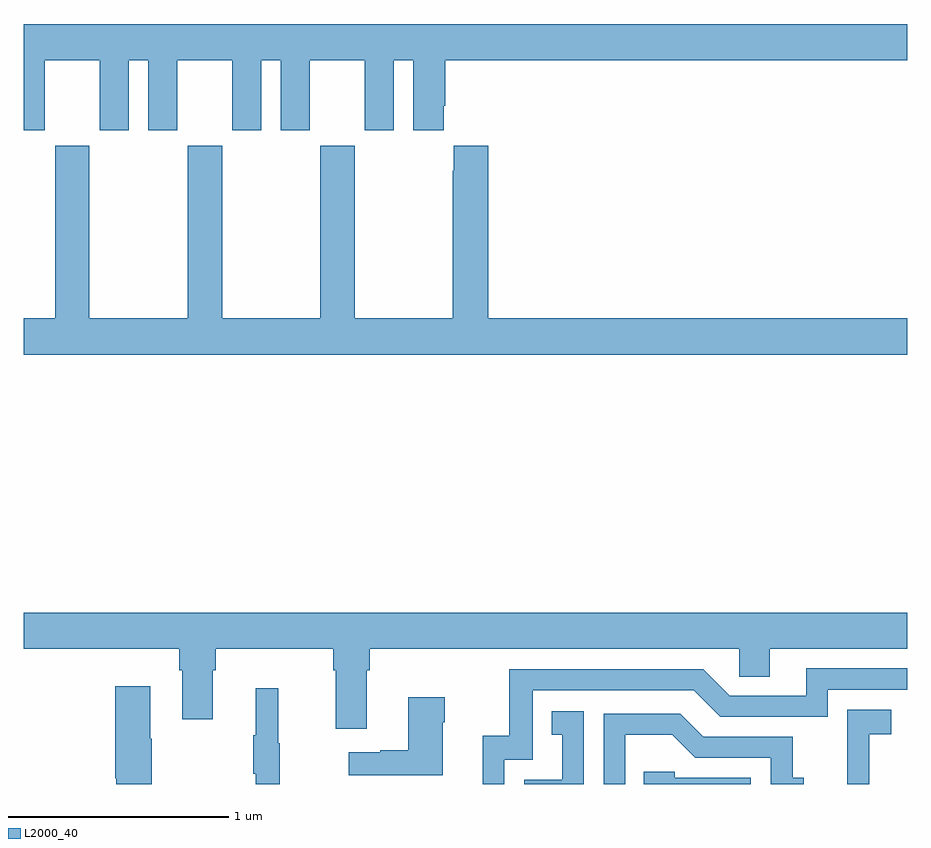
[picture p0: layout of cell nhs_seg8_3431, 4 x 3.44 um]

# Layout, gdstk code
import gdstk
lib = gdstk.Library(unit=1e-6, precision=1e-09)
def P(c, l, *ps):  # polygons
    for p in ps: c.add(gdstk.Polygon(p, *l))
L2000_40 = (2000, 40)

nhs_seg8_3431 = lib.new_cell('nhs_seg8_3431')
P(nhs_seg8_3431, L2000_40, [(323.095,1107.176),(323.345,1107.176),(323.345,1106.859),(323.476,1106.859),(323.476,1107.176),(323.564,1107.176),(323.564,1106.859),(323.695,1106.859),(323.695,1107.176),(323.945,1107.176),(323.945,1106.859),(324.076,1106.859),(324.076,1107.176),(324.164,1107.176),(324.164,1106.859),(324.295,1106.859),(324.295,1107.176),(324.545,1107.176),(324.545,1106.859),(324.676,1106.859),(324.676,1107.176),(324.764,1107.176),(324.764,1106.859),(324.901,1106.859),(324.901,1106.971),(324.908,1106.971),(324.908,1107.176),(327,1107.176),(327,1107.34),(323,1107.34),(323,1106.859),(323.095,1106.859)],
  [(327,1106.008),(325.103,1106.008),(325.103,1106.788),(324.947,1106.788),(324.947,1106.675),(324.943,1106.675),(324.943,1106.008),(324.498,1106.008),(324.498,1106.788),(324.343,1106.788),(324.343,1106.008),(323.898,1106.008),(323.898,1106.788),(323.743,1106.788),(323.743,1106.008),(323.298,1106.008),(323.298,1106.788),(323.143,1106.788),(323.143,1106.008),(323,1106.008),(323,1105.844),(327,1105.844)],
  [(324.553,1104.416),(324.566,1104.416),(324.566,1104.512),(326.238,1104.512),(326.238,1104.385),(326.377,1104.385),(326.377,1104.512),(327,1104.512),(327,1104.676),(323,1104.676),(323,1104.512),(323.705,1104.512),(323.705,1104.416),(323.717,1104.416),(323.717,1104.192),(323.857,1104.192),(323.857,1104.416),(323.87,1104.416),(323.87,1104.512),(324.401,1104.512),(324.401,1104.416),(324.413,1104.416),(324.413,1104.15),(324.553,1104.15)],
  [(325.176,1104.009),(325.305,1104.009),(325.305,1104.324),(326.034,1104.324),(326.154,1104.204),(326.64,1104.204),(326.64,1104.327),(327,1104.327),(327,1104.423),(326.543,1104.423),(326.543,1104.3),(326.196,1104.3),(326.076,1104.42),(325.197,1104.42),(325.197,1104.118),(325.079,1104.118),(325.079,1103.9),(325.176,1103.9)],
  [(323.58,1104.104),(323.572,1104.104),(323.572,1104.343),(323.414,1104.343),(323.414,1103.925),(323.419,1103.925),(323.419,1103.9),(323.58,1103.9)],
  [(324.16,1104.084),(324.152,1104.084),(324.152,1104.334),(324.05,1104.334),(324.05,1104.121),(324.039,1104.121),(324.039,1103.947),(324.05,1103.947),(324.05,1103.9),(324.16,1103.9)],
  [(324.898,1104.179),(324.906,1104.179),(324.906,1104.292),(324.74,1104.292),(324.74,1104.053),(324.614,1104.053),(324.614,1104.043),(324.471,1104.043),(324.471,1103.939),(324.898,1103.939)],
  [(326.828,1104.125),(326.926,1104.125),(326.926,1104.235),(326.728,1104.235),(326.728,1104.029),(326.729,1104.029),(326.729,1103.9),(326.828,1103.9)],
  [(325.536,1104.229),(325.39,1104.229),(325.39,1104.123),(325.439,1104.123),(325.439,1103.919),(325.266,1103.919),(325.266,1103.9),(325.536,1103.9)],
  [(325.722,1104.122),(325.936,1104.122),(326.04,1104.018),(326.382,1104.018),(326.382,1103.9),(326.53,1103.9),(326.53,1103.929),(326.481,1103.929),(326.481,1104.114),(326.077,1104.114),(325.972,1104.219),(325.626,1104.219),(325.626,1103.9),(325.722,1103.9)],
  [(326.292,1103.928),(325.947,1103.928),(325.947,1103.955),(325.807,1103.955),(325.807,1103.9),(326.292,1103.9)])

lib.write_gds('nhs_seg8_3431.gds')
